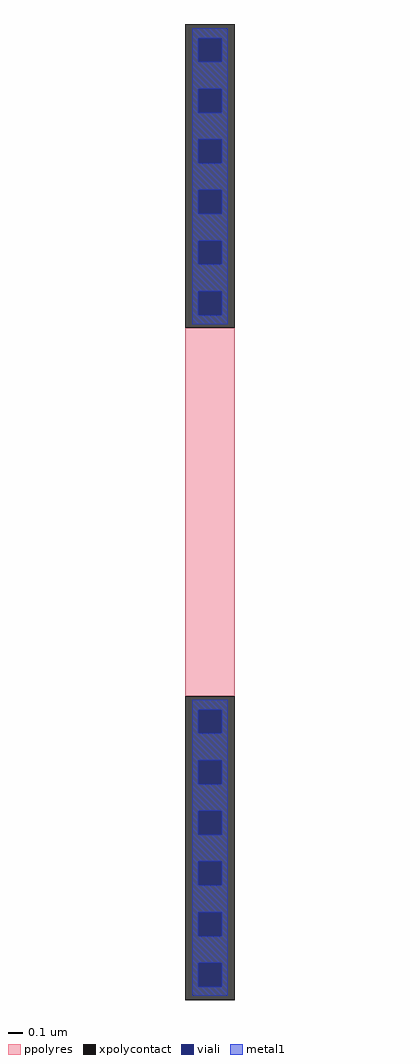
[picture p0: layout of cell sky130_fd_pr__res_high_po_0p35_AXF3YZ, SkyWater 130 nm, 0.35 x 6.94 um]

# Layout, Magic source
magic
tech sky130A
magscale 1 2
<< xpolycontact >>
rect -35 262 35 694
rect -35 -694 35 -262
<< ppolyres >>
rect -35 -262 35 262
<< viali >>
rect -17 640 17 674
rect -17 568 17 602
rect -17 496 17 530
rect -17 424 17 458
rect -17 352 17 386
rect -17 280 17 314
rect -17 -315 17 -281
rect -17 -387 17 -353
rect -17 -459 17 -425
rect -17 -531 17 -497
rect -17 -603 17 -569
rect -17 -675 17 -641
<< metal1 >>
rect -25 674 25 688
rect -25 640 -17 674
rect 17 640 25 674
rect -25 602 25 640
rect -25 568 -17 602
rect 17 568 25 602
rect -25 530 25 568
rect -25 496 -17 530
rect 17 496 25 530
rect -25 458 25 496
rect -25 424 -17 458
rect 17 424 25 458
rect -25 386 25 424
rect -25 352 -17 386
rect 17 352 25 386
rect -25 314 25 352
rect -25 280 -17 314
rect 17 280 25 314
rect -25 267 25 280
rect -25 -281 25 -267
rect -25 -315 -17 -281
rect 17 -315 25 -281
rect -25 -353 25 -315
rect -25 -387 -17 -353
rect 17 -387 25 -353
rect -25 -425 25 -387
rect -25 -459 -17 -425
rect 17 -459 25 -425
rect -25 -497 25 -459
rect -25 -531 -17 -497
rect 17 -531 25 -497
rect -25 -569 25 -531
rect -25 -603 -17 -569
rect 17 -603 25 -569
rect -25 -641 25 -603
rect -25 -675 -17 -641
rect 17 -675 25 -641
rect -25 -688 25 -675
<< end >>
